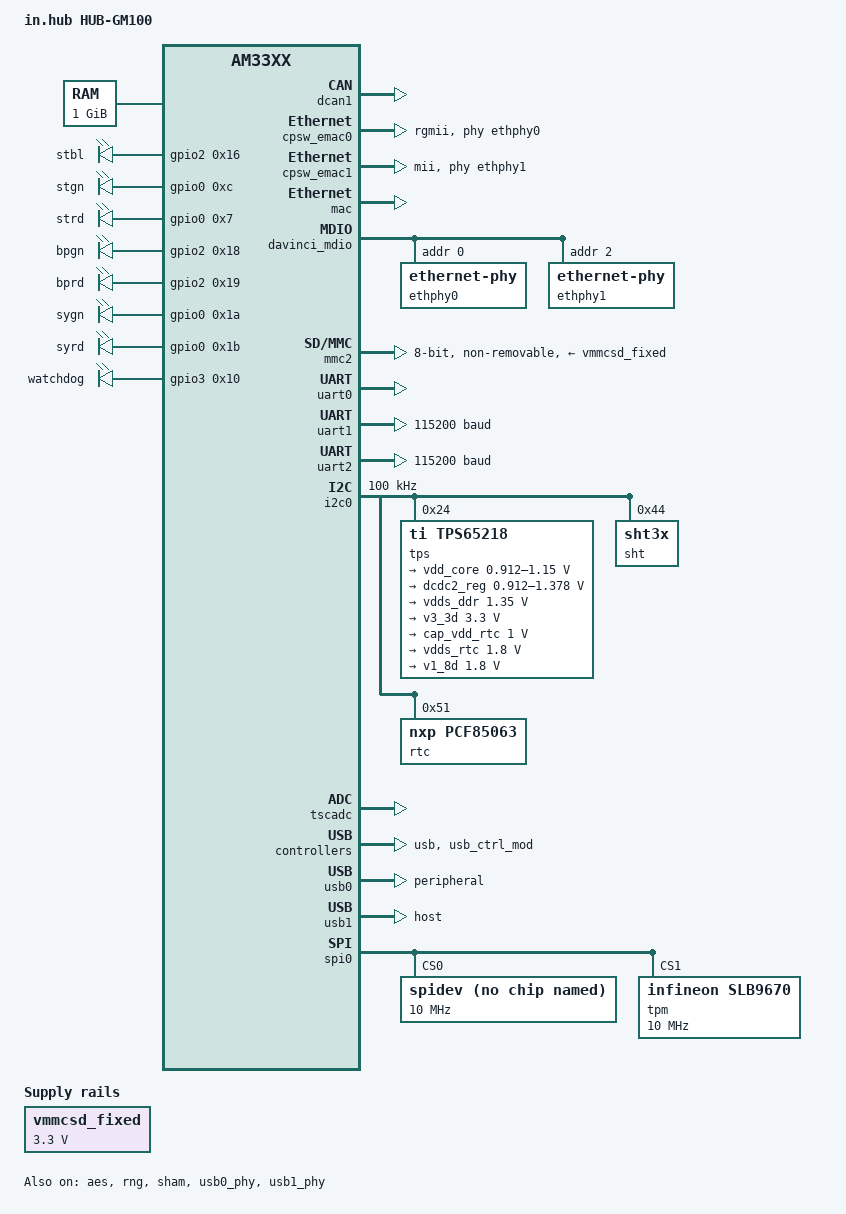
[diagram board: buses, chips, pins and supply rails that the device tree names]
// SPDX-License-Identifier: GPL-2.0-only
/*
 * Copyright 2018-2024 in.hub GmbH
 */

/dts-v1/;

#include "am33xx.dtsi"

/ {
	model = "in.hub HUB-GM100";
	compatible = "ti,am335x-duoSol-I-xCom1", "inhub,hub-gm100", "ti,am33xx";

	cpus {
		cpu@0 {
			cpu0-supply = <&dcdc2_reg>;

		};
	};

	memory {
		device_type = "memory";
		reg = <0x80000000 0x40000000>;
	};

	chosen {
		stdout-path = &uart0;
	};

	vmmcsd_fixed: fixedregulator@0 {
		compatible = "regulator-fixed";
		regulator-name = "vmmcsd_fixed";
		regulator-min-microvolt = <3300000>;
		regulator-max-microvolt = <3300000>;
		regulator-boot-on;
	};

	leds {
		compatible = "gpio-leds";

		status_blue {
			label = "stbl";
			gpios = <&gpio2 0x16 0x0>;
			default-state = "off";
		};

		status_green {
			label = "stgn";
			gpios = <&gpio0 0xc 0x0>;
			default-state = "off";
		};

		status_red {
			label = "strd";
			gpios = <&gpio0 0x7 0x0>;
			default-state = "off";
		};

		backplane_green {
			label = "bpgn";
			gpios = <&gpio2 0x18 0x0>;
			default-state = "off";
		};

		backplane_red {
			label = "bprd";
			gpios = <&gpio2 0x19 0x0>;
			default-state = "off";
		};

		system_green {
			label = "sygn";
			gpios = <&gpio0 0x1a 0x0>;
			default-state = "on";
		};

		system_red {
			label = "syrd";
			gpios = <&gpio0 0x1b 0x0>;
			default-state = "off";
			linux,default-trigger = "mmc0";
		};

		watchdog {
			label = "watchdog";
			gpios = <&gpio3 0x10 0x0>;
			linux,default-trigger = "heartbeat";
			default-state = "off";
		};
	};

};

&am33xx_pinmux {
	pinctrl-names = "default";
	pinctrl-0 = <&gpio0_pins &gpio1_pins &gpio2_pins &gpio3_pins>;

	i2c0_pins: pinmux_i2c0_pins {
		pinctrl-single,pins = <0x18c 0x28 0x188 0x28>;
	};

	uart0_pins: pinmux_uart0_pins {
		pinctrl-single,pins = <0x170 0x28 0x174 0x8>;
	};

	uart1_rs485_0_pins: pinmux_uart1_rs485_0_pins {
		pinctrl-single,pins = <0x180 0x28 0x184 0x8 0x17c 0xf>;
	};

	uart2_rs485_1_pins: pinmux_uart2_rs485_1_pins {
		pinctrl-single,pins = <0x10c 0x2e 0x110 0xe 0xc4 0xf>;
	};

	spi0_pins: spi0_pins_default {
		pinctrl-single,pins = <0x150 0x8 0x154 0x8 0x158 0x8 0x15c 0x8 0x160 0x8>;
	};

	dcan1_pins: pinmux_dcan1_pins {
		pinctrl-single,pins = <
			AM33XX_IOPAD(0x096c, PIN_INPUT_PULLUP | MUX_MODE2) /* uart0_rtsn.dcan1_rx */
			AM33XX_IOPAD(0x0968, PIN_OUTPUT_PULLUP | MUX_MODE2) /* uart0_ctsn.dcan1_tx */
		>;
	};

	davinci_mdio_default: pinmux_mdio_pins_default {
		pinctrl-single,pins = <
			/* MDIO */
			AM33XX_IOPAD(AM335X_PIN_MDIO, PIN_INPUT_PULLUP | SLEWCTRL_FAST | MUX_MODE0)	/* mdio_data.mdio_data */
			AM33XX_IOPAD(AM335X_PIN_MDC, PIN_OUTPUT_PULLUP | MUX_MODE0)			/* mdio_clk.mdio_clk */
		>;
	};

	davinci_mdio_sleep: davinci_mdio_sleep {
		pinctrl-single,pins = <
			/* MDIO reset value */
			AM33XX_PADCONF(AM335X_PIN_MDIO, PIN_INPUT_PULLDOWN, MUX_MODE7)
			AM33XX_PADCONF(AM335X_PIN_MDC, PIN_INPUT_PULLDOWN, MUX_MODE7)
		>;
	};

	rgmii1_gbe0_default: pinmux_rgmii1_gbe0_pins_default {
		pinctrl-single,pins = <0x114 0x2 0x118 0x2a 0x11c 0x2 0x120 0x2 0x124 0x2 0x128 0x2 0x12c 0x2 0x130 0x2a 0x134 0x2a 0x138 0x2a 0x13c 0x2a 0x140 0x2a>;
	};

	rgmii1_gbe0_sleep: pinmux_rgmii1_gbe0_pins_sleep {
		pinctrl-single,pins = <0x114 0x27 0x118 0x2f 0x11c 0x27 0x120 0x27 0x124 0x27 0x128 0x27 0x12c 0x27 0x130 0x2f 0x134 0x2f 0x138 0x2f 0x13c 0x2f 0x140 0x2f>;
	};

	mymdio_pruss11_pins_default {
		pinctrl-single,pins = <0x8c 0xd 0x88 0x2d>;
	};

	mymdio_pruss11_pins_sleep {
		pinctrl-single,pins = <0x8c 0x2f 0x88 0x2f>;
	};

	mymii3_default: mymii3_pins_default {
		pinctrl-single,pins = <0x78 0x29 0x70 0x29 0x74 0x29 0x40 0x9 0x44 0x29 0x58 0x29 0x5c 0x29 0x54 0x9 0x50 0x9 0x4c 0x9 0x48 0x9 0x6c 0x29 0x68 0x29 0x64 0x29 0x60 0x29>;
	};

	mymii3_sleep: mymii3_pins_sleep {
		pinctrl-single,pins = <0x78 0x2f 0x70 0x2f 0x74 0x2f 0x40 0x2f 0x44 0x2f 0x58 0x2f 0x5c 0x2f 0x54 0x2f 0x50 0x2f 0x4c 0x2f 0x48 0x2f 0x6c 0x2f 0x68 0x2f 0x64 0x2f 0x60 0x2f>;
	};

	emmc_pins: pinmux_emmc_pins {
		pinctrl-single,pins = <
			AM33XX_PADCONF(AM335X_PIN_GPMC_CSN1, PIN_INPUT_PULLUP, MUX_MODE2)   /* gpmc_csn1.mmc1_clk */
			AM33XX_PADCONF(AM335X_PIN_GPMC_CSN2, PIN_INPUT_PULLUP, MUX_MODE2)   /* gpmc_csn2.mmc1_cmd */
			AM33XX_PADCONF(AM335X_PIN_GPMC_AD0, PIN_INPUT_PULLUP, MUX_MODE1)	/* gpmc_ad0.mmc1_dat0 */
			AM33XX_PADCONF(AM335X_PIN_GPMC_AD1, PIN_INPUT_PULLUP, MUX_MODE1)	/* gpmc_ad1.mmc1_dat1 */
			AM33XX_PADCONF(AM335X_PIN_GPMC_AD2, PIN_INPUT_PULLUP, MUX_MODE1)	/* gpmc_ad2.mmc1_dat2 */
			AM33XX_PADCONF(AM335X_PIN_GPMC_AD3, PIN_INPUT_PULLUP, MUX_MODE1)	/* gpmc_ad3.mmc1_dat3 */
			AM33XX_PADCONF(AM335X_PIN_GPMC_AD4, PIN_INPUT_PULLUP, MUX_MODE1)	/* gpmc_ad4.mmc1_dat4 */
			AM33XX_PADCONF(AM335X_PIN_GPMC_AD5, PIN_INPUT_PULLUP, MUX_MODE1)	/* gpmc_ad5.mmc1_dat5 */
			AM33XX_PADCONF(AM335X_PIN_GPMC_AD6, PIN_INPUT_PULLUP, MUX_MODE1)	/* gpmc_ad6.mmc1_dat6 */
			AM33XX_PADCONF(AM335X_PIN_GPMC_AD7, PIN_INPUT_PULLUP, MUX_MODE1)	/* gpmc_ad7.mmc1_dat7 */
		>;
	};

	emmc_idle: pinmux_cirq_pin {
		pinctrl-single,pins = <
			AM33XX_PADCONF(AM335X_PIN_GPMC_AD1, PIN_INPUT_PULLUP, MUX_MODE7)	/* gpmc_ad1.gpio1_1 */
		>;
	};

	pinmux_usb1_pins_default {
		pinctrl-single,pins = <0x234 0x8>;
	};

	gpio0_pins: pinmux_gpio0_pins {
		pinctrl-single,pins = <0x164 0x2f 0xd0 0x2f 0xd4 0x2f 0xd8 0x2f 0xdc 0x2f 0x178 0x2f 0x1b0 0x2f 0x1b4 0x2f 0x20 0x2f 0x24 0x2f 0x28 0x2f 0x2c 0x2f>;
	};

	gpio1_pins: pinmux_gpio1_pins {
		pinctrl-single,pins = <0x30 0x2f 0x34 0x2f 0x38 0x2f 0x3c 0x2f 0x7c 0x2f>;
	};

	gpio2_pins: pinmux_gpio2_pins {
		pinctrl-single,pins = <0x90 0x2f 0x94 0x2f 0x98 0x2f 0x9c 0x2f 0xa0 0x2f 0xa4 0x2f 0xa8 0x2f 0xac 0x2f 0xb0 0x2f 0xb4 0x2f 0xb8 0x2f 0xbc 0x2f 0xc0 0x2f 0xc8 0x2f 0xcc 0x2f 0xe0 0x2f 0xe4 0x2f 0xe8 0x2f 0xec 0x2f>;
	};

	gpio3_pins: pinmux_gpio3_pins {
		pinctrl-single,pins = <0x108 0x2f 0x1e4 0x2f 0x1e8 0x2f 0x194 0x2f 0x198 0x2f 0x19c 0x2f 0x1a4 0x2f 0x1a8 0x2f 0x1ac 0x2f>;
	};
};

&dcan1 {
	pinctrl-names = "default";
	pinctrl-0 = <&dcan1_pins>;
	status = "okay";
};

&cpsw_emac0 {
	phy-handle = <&ethphy0>;
	phy-mode = "rgmii";
	dual_emac_res_vlan = <1>;
};

&cpsw_emac1 {
	phy-handle = <&ethphy1>;
	phy-mode = "mii";
	dual_emac_res_vlan = <2>;
};

&mac {
	pinctrl-names = "default", "sleep";
	pinctrl-0 = <&rgmii1_gbe0_default &mymii3_default>;
	pinctrl-1 = <&rgmii1_gbe0_sleep &mymii3_sleep>;
	rx_descs = <0x40>;
	slaves = <2>;
	status = "okay";
	dual_emac = <1>;
};

&davinci_mdio {
	pinctrl-names = "default", "sleep";
	pinctrl-0 = <&davinci_mdio_default>;
	pinctrl-1 = <&davinci_mdio_sleep>;
	status = "okay";

	ethphy0: ethernet-phy@0 {
		reg = <0>;
	};

	ethphy1: ethernet-phy@2 {
		reg = <2>;
	};
};


&mmc2 {
	vmmc-supply = <&vmmcsd_fixed>;
	pinctrl-names = "default", "idle";
	pinctrl-0 = <&emmc_pins>;
	pinctrl-1 = <&emmc_idle>;
	bus-width = <8>;
	non-removable;
	status = "okay";
	interrupts-extended = <&intc 28 &gpio1 1 GPIO_ACTIVE_LOW>;
};

&uart0 {
	pinctrl-names = "default";
	pinctrl-0 = <&uart0_pins>;
	status = "okay";
};

&uart1 {
	pinctrl-names = "default";
	pinctrl-0 = <&uart1_rs485_0_pins>;
	linux,rs485-enabled-at-boot-time;
	rs485-rts-delay = <0x0 0x0>;
	rs485-rts-active-high;
	rts-gpio = <&gpio0 13 GPIO_ACTIVE_HIGH>;
	current-speed = <115200>;
	status = "okay";
};

&uart2 {
	pinctrl-names = "default";
	pinctrl-0 = <&uart2_rs485_1_pins>;
	linux,rs485-enabled-at-boot-time;
	rs485-rts-delay = <0x0 0x0>;
	rs485-rts-active-high;
	rts-gpio = <&gpio2 15 GPIO_ACTIVE_HIGH>;
	current-speed = <115200>;
	status = "okay";
};

&i2c0 {
	pinctrl-names = "default";
	pinctrl-0 = <&i2c0_pins>;

	status = "okay";
	clock-frequency = <100000>;

	tps: tps@24 {
		reg = <0x24>;
		compatible = "ti,tps65218";
		interrupts = <7>;
		interrupt-controller;
		#interrupt-cells = <0x2>;

		regulator-dcdc1 {
			compatible = "ti,tps65218-dcdc1";
			regulator-name = "vdd_core";
			regulator-min-microvolt = <912000>;
			regulator-max-microvolt = <1150000>;
			regulator-boot-on;
			regulator-always-on;
		};

		dcdc2_reg: regulator-dcdc2 {
			compatible = "ti,tps65218-dcdc2";
			regulator-name = "vdd_mpu";
			regulator-min-microvolt = <912000>;
			regulator-max-microvolt = <1378000>;
			regulator-boot-on;
			regulator-always-on;
		};

		regulator-dcdc3 {
			compatible = "ti,tps65218-dcdc3";
			regulator-name = "vdds_ddr";
			regulator-min-microvolt = <1350000>;
			regulator-max-microvolt = <1350000>;
			regulator-boot-on;
			regulator-always-on;
		};

		regulator-dcdc4 {
			compatible = "ti,tps65218-dcdc4";
			regulator-name = "v3_3d";
			regulator-min-microvolt = <3300000>;
			regulator-max-microvolt = <3300000>;
			regulator-boot-on;
			regulator-always-on;
		};

		regulator-dcdc5 {
			compatible = "ti,tps65218-dcdc5";
			regulator-name = "cap_vdd_rtc";
			regulator-min-microvolt = <1000000>;
			regulator-max-microvolt = <1000000>;
			regulator-boot-on;
			regulator-always-on;
		};

		regulator-dcdc6 {
			compatible = "ti,tps65218-dcdc6";
			regulator-name = "vdds_rtc";
			regulator-min-microvolt = <1800000>;
			regulator-max-microvolt = <1800000>;
			regulator-boot-on;
			regulator-always-on;
		};

		regulator-ldo1 {
			compatible = "ti,tps65218-ldo1";
			regulator-name = "v1_8d";
			regulator-min-microvolt = <1800000>;
			regulator-max-microvolt = <1800000>;
			regulator-boot-on;
			regulator-always-on;
		};
	};

	sht@44 {
		compatible = "sht3x";
		reg = <0x44>;
	};

	rtc@51 {
		compatible = "nxp,pcf85063";
		reg = <0x51>;
	};
};

&aes {
	status = "okay";
};

&rng {
	status = "okay";
};

&rtc {
	system-power-controller;
};

&sham {
	status = "okay";
};

&tscadc {
	status = "okay";

	adc {
		ti,adc-channels = <0 1 2 3 4 5 6 7>;
	};
};

&usb {
	status = "okay";
};

&usb_ctrl_mod {
	status = "okay";
};

&usb0_phy {
	status = "okay";
};

&usb1_phy {
	status = "okay";
};

&usb0 {
	status = "okay";
	dr_mode = "peripheral";
};

&usb1 {
	status = "okay";
	dr_mode = "host";
};

&cppi41dma {
	status = "okay";
};

&spi0 {
	pinctrl-names = "default";
	pinctrl-0 = <&spi0_pins>;
	status = "okay";

	spidev: spidev@0 {
		compatible = "linux,spidev";
		spi-max-frequency = <10000000>;
		reg = <0x0>;
		status = "okay";
	};

	tpm: tpm_slb9670@1 {
		compatible = "infineon,slb9670";
		reg = <0x1>;
		spi-max-frequency = <10000000>;
		status = "okay";
	};

};
